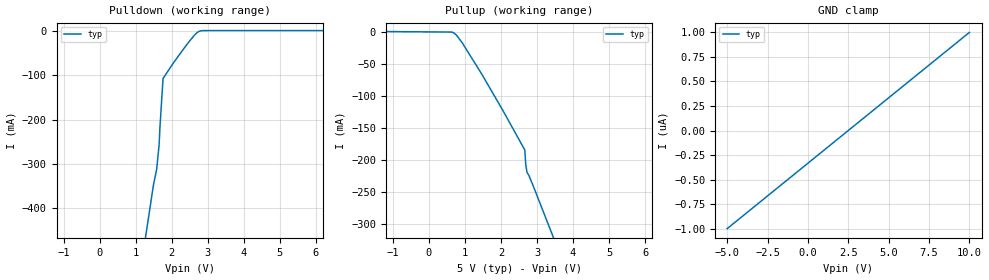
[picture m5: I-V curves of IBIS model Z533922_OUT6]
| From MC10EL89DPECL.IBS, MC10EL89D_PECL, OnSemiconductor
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| (C) COPYRIGHT 1993-2000
| MENTOR GRAPHICS CORPORATION
| ICX STANDARD LIBRARY, ICX PROJECT MODELING,
| ICX CUSTOM MODELING, ICX VENDOR MODEL
| ALL RIGHTS RESERVED.
| THE FOLLOWING ARE TRADEMARKS OR SERVICE MARKS OF
| MENTOR GRAPHICS CORPORATION:ICX (R), ICX STANDARD
| LIBRARY(R), ICX PROJECT MODELING(R), ICX CUSTOM
| MODELING(R), qualityIBIS(TM), MODELVIEWER(TM),
| AND MODELEDITOR(TM)
| ALL COPIES OF SOFTWARE, INCLUDING BUT NOT LIMITED TO
| ANY MODIFICATIONS, ENHANCEMENTS OR DERIVATIVE WORKS,
| MUST CONTAIN ALL MENTOR GRAPHICS CORPORATION'S
| NOTICES AND LEGENDS, INCLUDING THOSE EMBEDDED IN
| SOFTWARE AND THOSE AFFIXED TO SOFTWARE MEDIUM
| AND CONTAINER, AS RECEIVED FROM MENTOR GRAPHICS
| CORPORATION.
| Model Application Version 1.89 2/18/99.
[Model] Z533922_OUT6
Model_type Output
Vref=2.700V
Rref=300.0ohms
Cref=0.000F
Vmeas=3.200V
C_comp 8.000pF NA NA
| variable typ   min   max
[Voltage Range] 5.000V NA NA
[POWER Clamp Reference] 5.000V NA NA
[Pullup Reference] 5.000V NA NA
[Pulldown Reference] 0.000V NA NA
[GND Clamp Reference] 0.000V NA NA
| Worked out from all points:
|   slope of the pulldown table from 0 to 0.75 V, typ, clamps not added: 1.87 ohm
|   slope of the pullup table from 0 to 0.75 V, typ, clamps not added: 170 ohm
[GND Clamp]
-5V       -1uA       NA         NA
10V       1uA        NA         NA
[Pulldown]
-5V       -3.824A    NA         NA
1.494V    -346mA     NA         NA
1.582V    -311.8mA   NA         NA
1.65V     -255.5mA   NA         NA
1.67V     -220.1mA   NA         NA
1.758V    -107.5mA   NA         NA
2.057V    -71.27mA   NA         NA
2.413V    -31.61mA   NA         NA
2.629V    -10.02mA   NA         NA
2.762V    -1.395mA   NA         NA
3.037V    266.8uA    NA         NA
10V       266.8uA    NA         NA
[Pullup]
-5V       2.328mA    NA         NA
643mV     -293.4uA   NA         NA
761mV     -4.71mA    NA         NA
928mV     -17.36mA   NA         NA
1.474V    -66.8mA    NA         NA
2.051V    -122.8mA   NA         NA
2.661V    -184.8mA   NA         NA
2.686V    -207mA     NA         NA
2.721V    -219.6mA   NA         NA
2.778V    -225.3mA   NA         NA
2.881V    -239.2mA   NA         NA
10V       -1.264A    NA         NA
[POWER Clamp]
-5V       0A         NA         NA
10V       0A         NA         NA
[Ramp]
| variable typ min max
dV/dt_r 900.9m/1.976n NA NA
dV/dt_f 900.9m/1.494n NA NA
R_load = 500.0Ohms
